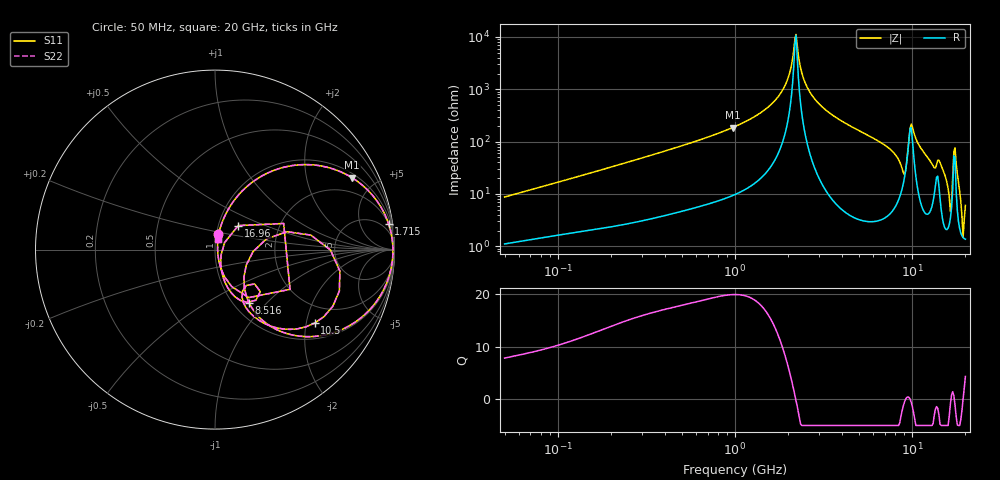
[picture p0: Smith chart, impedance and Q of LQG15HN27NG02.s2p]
!Murata Part Number: LQG15HN27NG02
!These Parameters are Measured in Series Mode Connection
!  o--[Z]--o
!Port1  Port2
!  o-------o
!Freq. Start=50[MHz] Stop=20[GHz], 401[Steps]
# Hz S RI R 50
!Freq.(Hz) S11(Real) S11(Imag) S21(Real) S21(Imag) S12(Real) S12(Imag) S22(Real) S22(Imag)
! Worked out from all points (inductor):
!   401 points, 50 MHz to 20 GHz, reference 50 ohm
!   read as one part in series: L = 27.2 nH near 51.52 MHz
!   highest Q = 19.9 at 970.5 MHz (marker M1), where L = 30.4 nH
!   self-resonance near 2.179 GHz
!   S11 on the Smith chart (normalised r, x): 50 MHz: 1.02, +0.17; 1.715 GHz: 2, +13; 8.516 GHz: 1.18, -0.80; 10.5 GHz: 1.43, -2.24; 16.96 GHz: 1.24, +0.34; 20 GHz: 1.03, +0.12
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5e7  0.0182 0.0842  0.9818 -0.0842  0.9818 -0.0842  0.0182 0.0842
1.364002e8  0.0643 0.2065  0.9357 -0.2065  0.9357 -0.2065  0.0643 0.2065
3.721004e8  0.2826 0.4214  0.7174 -0.4214  0.7174 -0.4214  0.2826 0.4214
9.70487e8  0.7642 0.4001  0.2358 -0.4001  0.2358 -0.4001  0.7642 0.4001
1e9  0.7789 0.3906  0.2211 -0.3906  0.2211 -0.3906  0.7789 0.3906
1.714689e9  0.9667 0.1448  0.0333 -0.1448  0.0333 -0.1448  0.9667 0.1448
1.962148e9  0.9855 0.0681  0.0145 -0.0681  0.0145 -0.0681  0.9855 0.0681
2.211938e9  0.9914 -0.00244  0.00856 0.00244  0.00856 0.00244  0.9914 -0.00244
2.419936e9  0.9889 -0.0561  0.0111 0.0561  0.0111 0.0561  0.9889 -0.0561
2.728004e9  0.9759 -0.1278  0.0241 0.1278  0.0241 0.1278  0.9759 -0.1278
7.442007e9  0.3589 -0.4529  0.6411 0.4529  0.6411 0.4529  0.3589 -0.4529
8.516016e9  0.1897 -0.2965  0.8103 0.2965  0.8103 0.2965  0.1897 -0.2965
9.041845e9  0.1743 -0.0855  0.8257 0.0855  0.8257 0.0855  0.1743 -0.0855
9.457416e9  0.4004 0.0997  0.5996 -0.0997  0.5996 -0.0997  0.4004 0.0997
9.892087e9  0.6958 -0.1199  0.3042 0.1199  0.3042 0.1199  0.6958 -0.1199
1.050288e10  0.5546 -0.4098  0.4454 0.4098  0.4454 0.4098  0.5546 -0.4098
1.460232e10  0.1415 -0.2834  0.8585 0.2834  0.8585 0.2834  0.1415 -0.2834
1.621653e10  0.0318 -0.0784  0.9682 0.0784  0.9682 0.0784  0.0318 -0.0784
1.696185e10  0.1296 0.1337  0.8704 -0.1337  0.8704 -0.1337  0.1296 0.1337
1.774144e10  0.1883 -0.2674  0.8117 0.2674  0.8117 0.2674  0.1883 -0.2674
1.912117e10  0.0168 -0.0334  0.9832 0.0334  0.9832 0.0334  0.0168 -0.0334
2e10  0.0168 0.0571  0.9832 -0.0571  0.9832 -0.0571  0.0168 0.0571
